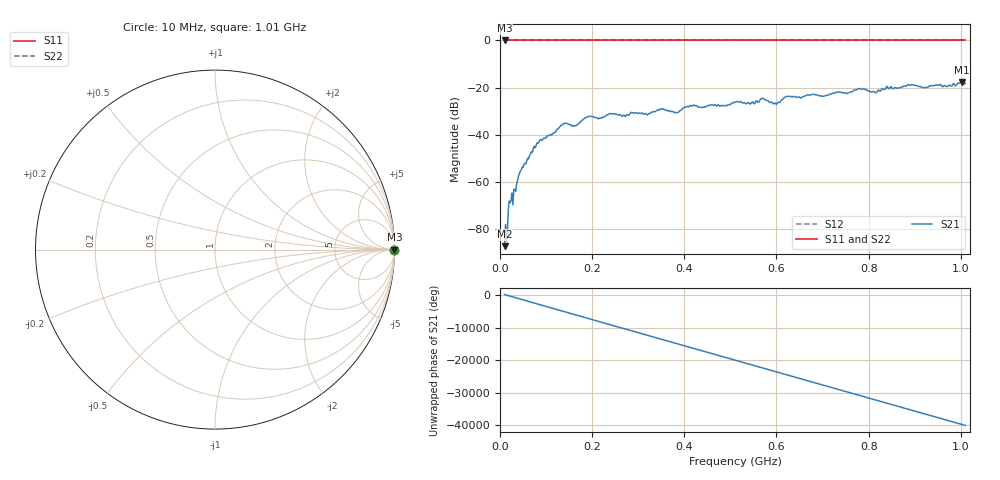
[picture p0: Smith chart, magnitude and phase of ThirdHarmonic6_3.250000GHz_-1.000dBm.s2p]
! 8/17/2025 10:00:06 AM
! C:\ANRITSUVNA\TEMP\TEMP.S2P
! CHANNEL.1
! TR.MEASUREMENT
! RAW.DATA
! RF.CORRECTION.OFF
! AVERAGING.OFF
! IF.BANDWIDTH: 5KHZ
! SWEEPTYPE:  FREQ.SWEEP(Linear)
! Reference Plane Port Info
! PORT:  PORT1  PORT2
! DISTANCE:  0  m  0  m
! TIME:  0  s  0  s
! PHASE.OFFSET:  0  deg.  0  deg.
! LOSS:  0  dB  0  dB
! REF.LOSS:  0  dB  0  dB
! REF.FREQ:  0  Hz  0  Hz
! Power Info
! POWER:  -20  dBm  -20  dBm
! EFF.POWER:  -20  dBm  -20  dBm
! SOURCE.ATTEN:  0  dB  0  dB
! TEST.ATTEN:  0  dB  0  dB
# GHZ S RI R 50.0
! FREQ.GHZ  S11RE  S11IM  S21RE  S21IM  S12RE  S12IM  S22RE  S22IM
!; PortSelection: Port_12
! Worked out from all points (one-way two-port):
!   501 points, 10 MHz to 1.01 GHz, reference 50 ohm
!   highest |S21| = -17.68 dB at 1.002 GHz (marker M1); lowest = -87.2 dB at 10 MHz (marker M2)
!   lowest |S11| = 0.0 dB at 10 MHz (marker M3)
!   |S11| at or under -10 dB: nowhere
!   |S22| runs from 0.0 to 0.0 dB; largest |S21 - S12| = 1.1
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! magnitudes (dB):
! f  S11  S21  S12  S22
! 10 MHz  0.0  -87.2  0.0  0.0
! 14 MHz  0.0  -85.0  0.0  0.0
! 22 MHz  0.0  -68.8  0.0  0.0
! 32 MHz  0.0  -63.1  0.0  0.0
! 44 MHz  0.0  -55.4  0.0  0.0
! 76 MHz  0.0  -45.5  0.0  0.0
! 136 MHz  0.0  -35.6  0.0  0.0
! 162 MHz  0.0  -36.2  0.0  0.0
! 178 MHz  0.0  -33.8  0.0  0.0
! 344 MHz  0.0  -29.5  0.0  0.0
! 384 MHz  0.0  -30.6  0.0  0.0
! 416 MHz  0.0  -27.8  0.0  0.0
! 510 MHz  0.0  -26.1  0.0  0.0
! 570 MHz  0.0  -24.5  0.0  0.0
! 596 MHz  0.0  -26.5  0.0  0.0
! 622 MHz  0.0  -23.7  0.0  0.0
! 678 MHz  0.0  -22.9  0.0  0.0
! 780 MHz  0.0  -20.4  0.0  0.0
! 814 MHz  0.0  -22.0  0.0  0.0
! 844 MHz  0.0  -20.5  0.0  0.0
! 1.002 GHz  0.0  -17.7  0.0  0.0
! 1.01 GHz  0.0  -18.2  0.0  0.0
